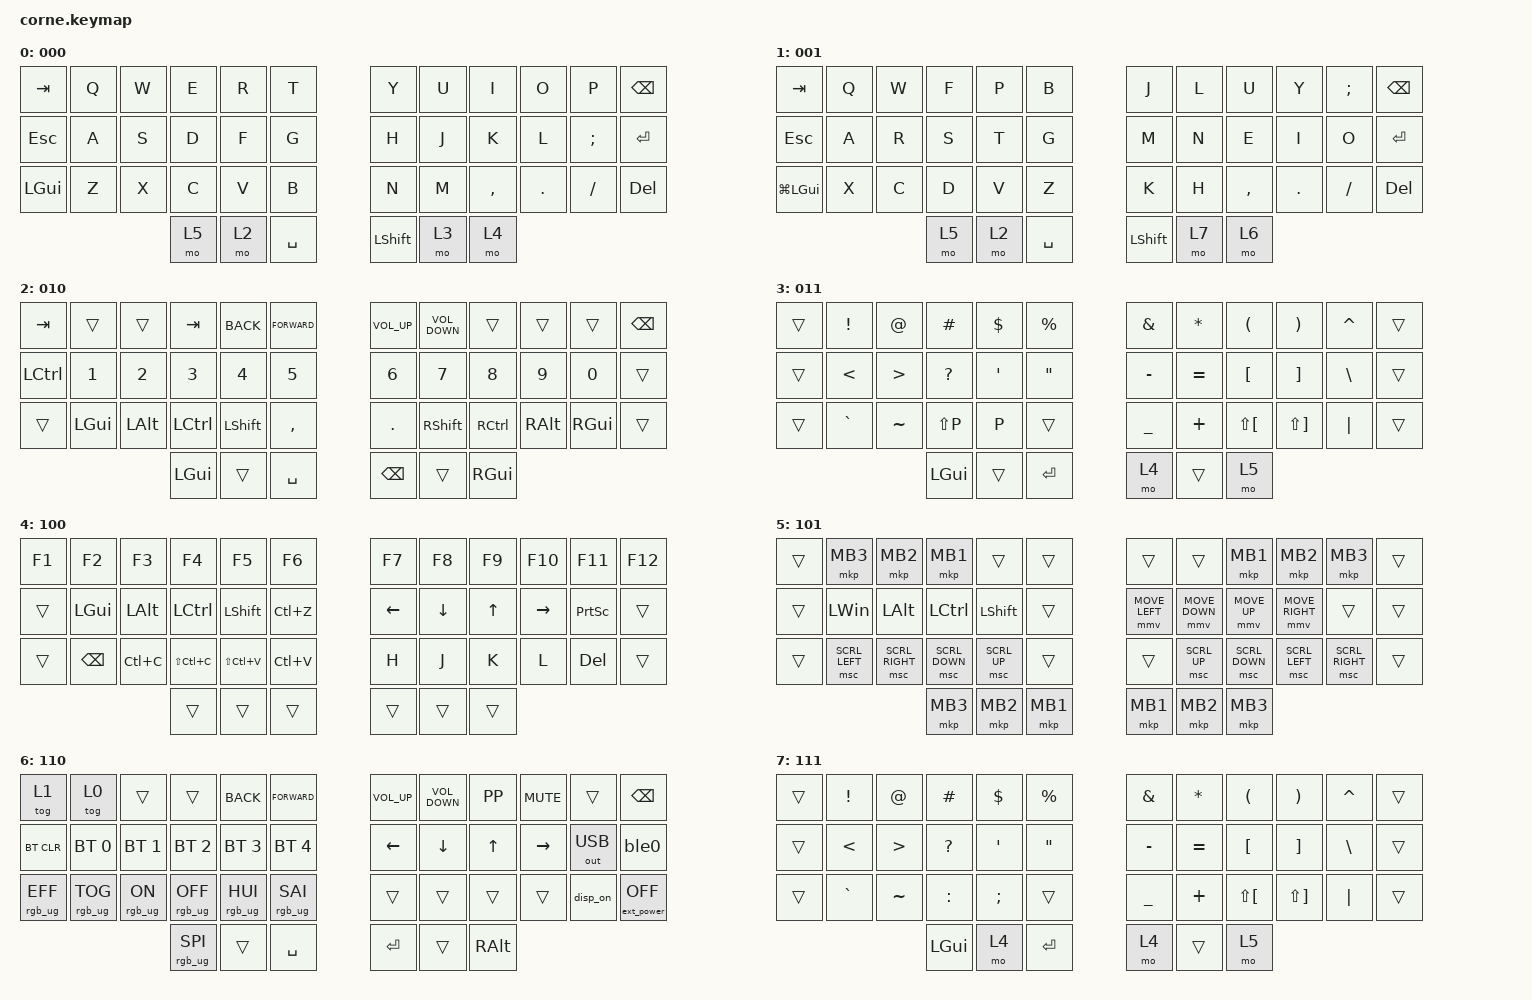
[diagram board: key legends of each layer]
/*
 * Copyright (c) 2020 The ZMK Contributors
 *
 * SPDX-License-Identifier: MIT
 */

#define ZMK_POINTING_DEFAULT_MOVE_VAL 1200  // default: 600
#define ZMK_POINTING_DEFAULT_SCRL_VAL 20    // default: 10

#include <behaviors.dtsi>
#include <dt-bindings/zmk/bt.h>
#include <dt-bindings/zmk/ext_power.h>
#include <dt-bindings/zmk/keys.h>
#include <dt-bindings/zmk/outputs.h>
#include <dt-bindings/zmk/pointing.h>
#include <dt-bindings/zmk/rgb.h>

/ {
    macros {
        ble0: ble0 {
            compatible = "zmk,behavior-macro";
            #binding-cells = <0>;
            bindings = <&out OUT_BLE &bt BT_SEL 0>;
        };

        disp_on: disp_on {
            compatible = "zmk,behavior-macro";
            #binding-cells = <0>;
            wait-ms = <500>;
            tap-ms = <5>;
            bindings = <&ext_power EP_ON &sys_reset>;
        };
    };

    combos {
        compatible = "zmk,combos";

        ctrlBack {
            bindings = <&kp LC(BACKSPACE)>;
            key-positions = <19 20 21>;
        };

        colonVim {
            bindings = <&kp LS(P)>;
            key-positions = <28 29>;
        };

        ctrlSpaceTmux {
            bindings = <&kp LC(SPACE)>;
            key-positions = <30 31>;
        };

        esc {
            bindings = <&kp ESCAPE>;
            key-positions = <38 39>;
        };

        terminalDelete {
            bindings = <&kp LC(W)>;
            key-positions = <14 15 16>;
        };

        mo6 {
            bindings = <&mo 6>;
            key-positions = <37 40>;
        };
    };

    keymap {
        compatible = "zmk,keymap";

        main {
            // -----------------------------------------------------------------------------------------
            // |  TAB |  Q  |  W  |  E  |  R  |  T  |   |  Y  |  U   |  I  |  O  |  P  | BKSP |
            // | CTRL |  A  |  S  |  D  |  F  |  G  |   |  H  |  J   |  K  |  L  |  ;  |  '   |
            // | SHFT |  Z  |  X  |  C  |  V  |  B  |   |  N  |  M   |  ,  |  .  |  /  | ESC  |
            //                    | GUI | LWR | SPC |   | ENT | RSE  | ALT |

            bindings = <
&kp TAB       &kp Q  &kp W  &kp E  &kp R  &kp T        &kp Y           &kp U  &kp I      &kp O       &kp P      &kp BSPC
&kp ESCAPE    &kp A  &kp S  &kp D  &kp F  &kp G        &kp H           &kp J  &kp K      &kp L       &kp SEMI   &kp ENTER
&kp LEFT_GUI  &kp Z  &kp X  &kp C  &kp V  &kp B        &kp N           &kp M  &kp COMMA  &kp PERIOD  &kp SLASH  &kp DELETE
                            &mo 5  &mo 2  &kp SPACE    &kp LEFT_SHIFT  &mo 3  &mo 4
            >;

            label = "000";
        };

        cole {
            bindings = <
&kp TAB       &kp Q  &kp W  &kp F  &kp P  &kp B        &kp J           &kp L  &kp U      &kp Y    &kp SEMI  &kp BSPC
&kp ESC       &kp A  &kp R  &kp S  &kp T  &kp G        &kp M           &kp N  &kp E      &kp I    &kp O     &kp RET
&kp LG(LGUI)  &kp X  &kp C  &kp D  &kp V  &kp Z        &kp K           &kp H  &kp COMMA  &kp DOT  &kp FSLH  &kp DEL
                            &mo 5  &mo 2  &kp SPACE    &kp LEFT_SHIFT  &mo 7  &mo 6
            >;

            label = "001";
        };

        num {
            // -----------------------------------------------------------------------------------------
            // |  TAB |  !  |  @  |  #  |  $  |  %  |   |  ^  |  &  |  *  |  (  |  )  | BKSP |
            // | CTRL |     |     |     |     |     |   |  -  |  =  |  [  |  ]  |  \  |  `   |
            // | SHFT |     |     |     |     |     |   |  _  |  +  |  {  |  }  | "|" |  ~   |
            //                    | GUI |     | SPC |   | ENT |     | ALT |

            bindings = <
&kp TAB    &trans        &trans        &kp TAB           &kp K_BACK      &kp K_FORWARD    &kp K_VOLUME_UP  &kp K_VOLUME_DOWN  &trans             &trans         &trans         &kp BSPC
&kp LCTRL  &kp NUMBER_1  &kp NUMBER_2  &kp NUMBER_3      &kp NUMBER_4    &kp N5           &kp NUMBER_6     &kp N7             &kp N8             &kp N9         &kp N0         &trans
&trans     &kp LEFT_GUI  &kp LEFT_ALT  &kp LEFT_CONTROL  &kp LEFT_SHIFT  &kp COMMA        &kp DOT          &kp RSHIFT         &kp RIGHT_CONTROL  &kp RIGHT_ALT  &kp RIGHT_GUI  &trans
                                       &kp LGUI          &trans          &kp SPACE        &kp BACKSPACE    &trans             &kp RIGHT_GUI
            >;

            label = "010";
        };

        sym {
            bindings = <
&trans  &kp EXCL       &kp AT            &kp POUND     &kp DOLLAR  &kp PERCENT          &kp AMPS   &kp ASTRK  &kp LEFT_PARENTHESIS  &kp RIGHT_PARENTHESIS  &kp CARET      &trans
&trans  &kp LESS_THAN  &kp GREATER_THAN  &kp QUESTION  &kp APOS    &kp DOUBLE_QUOTES    &kp MINUS  &kp EQUAL  &kp LEFT_BRACKET      &kp RIGHT_BRACKET      &kp BACKSLASH  &trans
&trans  &kp GRAVE      &kp TILDE         &kp LS(P)     &kp P       &trans               &kp UNDER  &kp PLUS   &kp LS(LEFT_BRACKET)  &kp LS(RIGHT_BRACKET)  &kp PIPE       &trans
                                         &kp LEFT_GUI  &trans      &kp ENTER            &mo 4      &trans     &mo 5
            >;

            label = "011";
        };

        nav {
            bindings = <
&kp F1  &kp F2         &kp F3     &kp F4         &kp F5         &kp F6       &kp F7    &kp F8    &kp F9  &kp F10    &kp F11          &kp F12
&trans  &kp LEFT_GUI   &kp LALT   &kp LCTRL      &kp LSHFT      &kp LC(Z)    &kp LEFT  &kp DOWN  &kp UP  &kp RIGHT  &kp PRINTSCREEN  &trans
&trans  &kp BACKSPACE  &kp LC(C)  &kp LS(LC(C))  &kp LS(LC(V))  &kp LC(V)    &kp H     &kp J     &kp K   &kp L      &kp DELETE       &trans
                                  &trans         &trans         &trans       &trans    &trans    &trans
            >;

            label = "100";
        };

        mouse {
            bindings = <
&trans  &mkp MB3        &mkp MB2         &mkp MB1          &trans          &trans      &trans          &trans          &mkp MB1        &mkp MB2         &mkp MB3         &trans
&trans  &kp LEFT_WIN    &kp LEFT_ALT     &kp LEFT_CONTROL  &kp LEFT_SHIFT  &trans      &mmv MOVE_LEFT  &mmv MOVE_DOWN  &mmv MOVE_UP    &mmv MOVE_RIGHT  &trans           &trans
&trans  &msc SCRL_LEFT  &msc SCRL_RIGHT  &msc SCRL_DOWN    &msc SCRL_UP    &trans      &trans          &msc SCRL_UP    &msc SCRL_DOWN  &msc SCRL_LEFT   &msc SCRL_RIGHT  &trans
                                         &mkp MB3          &mkp MB2        &mkp MB1    &mkp MB1        &mkp MB2        &mkp MB3
            >;

            label = "101";
        };

        conf {
            // -----------------------------------------------------------------------------------------
            // |  TAB |  1  |  2  |  3  |  4  |  5  |   |  6  |  7  |  8  |  9  |  0  | BKSP |
            // | BTCLR| BT1 | BT2 | BT3 | BT4 | BT5 |   | LFT | DWN |  UP | RGT |     |      |
            // | SHFT |     |     |     |     |     |   |     |     |     |     |     |      |
            //                    | GUI |     | SPC |   | ENT |     | ALT |

            bindings = <
&tog 1           &tog 0           &trans          &trans           &kp K_BACK       &kp K_FORWARD      &kp C_VOLUME_UP  &kp C_VOLUME_DOWN  &kp K_PP  &kp K_MUTE  &trans        &kp BSPC
&bt BT_CLR       &bt BT_SEL 0     &bt BT_SEL 1    &bt BT_SEL 2     &bt BT_SEL 3     &bt BT_SEL 4       &kp LEFT         &kp DOWN           &kp UP    &kp RIGHT   &out OUT_USB  &ble0
&rgb_ug RGB_EFF  &rgb_ug RGB_TOG  &rgb_ug RGB_ON  &rgb_ug RGB_OFF  &rgb_ug RGB_HUI  &rgb_ug RGB_SAI    &trans           &trans             &trans    &trans      &disp_on      &ext_power EP_OFF
                                                  &rgb_ug RGB_SPI  &trans           &kp SPACE          &kp RET          &trans             &kp RALT
            >;

            label = "110";
        };

        sym_col {
            bindings = <
&trans  &kp EXCL       &kp AT            &kp POUND     &kp DOLLAR  &kp PERCENT          &kp AMPS   &kp ASTRK  &kp LEFT_PARENTHESIS  &kp RIGHT_PARENTHESIS  &kp CARET      &trans
&trans  &kp LESS_THAN  &kp GREATER_THAN  &kp QUESTION  &kp APOS    &kp DOUBLE_QUOTES    &kp MINUS  &kp EQUAL  &kp LEFT_BRACKET      &kp RIGHT_BRACKET      &kp BACKSLASH  &trans
&trans  &kp GRAVE      &kp TILDE         &kp COLON     &kp SEMI    &trans               &kp UNDER  &kp PLUS   &kp LS(LEFT_BRACKET)  &kp LS(RIGHT_BRACKET)  &kp PIPE       &trans
                                         &kp LEFT_GUI  &mo 4       &kp ENTER            &mo 4      &trans     &mo 5
            >;

            label = "111";
        };
    };
};
